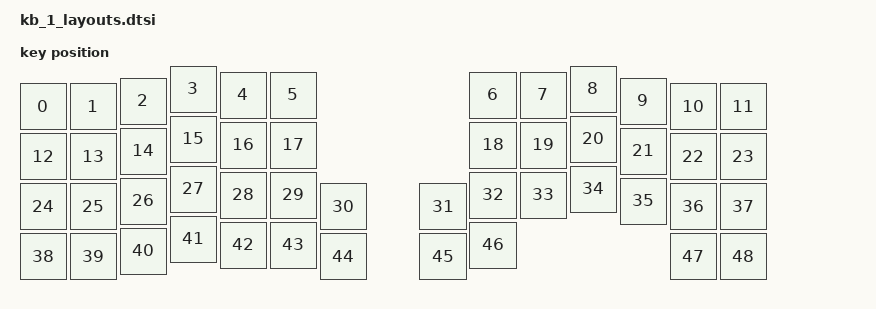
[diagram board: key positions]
#include <physical_layouts.dtsi>

/ {
    kb_1_layout: kb_1_layout {
        compatible = "zmk,physical-layout";
        display-name = "kb-1";
        keys  //                     w   h    x    y   rot   rx   ry
            = <&key_physical_attrs 100 100    0   35     0    0    0>
            , <&key_physical_attrs 100 100  100   35     0    0    0>
            , <&key_physical_attrs 100 100  200   24     0    0    0>
            , <&key_physical_attrs 100 100  300    0     0    0    0>
            , <&key_physical_attrs 100 100  400   12     0    0    0>
            , <&key_physical_attrs 100 100  500   12     0    0    0>
            , <&key_physical_attrs 100 100  900   12     0    0    0>
            , <&key_physical_attrs 100 100 1000   12     0    0    0>
            , <&key_physical_attrs 100 100 1100    0     0    0    0>
            , <&key_physical_attrs 100 100 1200   24     0    0    0>
            , <&key_physical_attrs 100 100 1300   35     0    0    0>
            , <&key_physical_attrs 100 100 1400   35     0    0    0>

            , <&key_physical_attrs 100 100    0  135     0    0    0>
            , <&key_physical_attrs 100 100  100  135     0    0    0>
            , <&key_physical_attrs 100 100  200  124     0    0    0>
            , <&key_physical_attrs 100 100  300  100     0    0    0>
            , <&key_physical_attrs 100 100  400  112     0    0    0>
            , <&key_physical_attrs 100 100  500  112     0    0    0>
            , <&key_physical_attrs 100 100  900  112     0    0    0>
            , <&key_physical_attrs 100 100 1000  112     0    0    0>
            , <&key_physical_attrs 100 100 1100  100     0    0    0>
            , <&key_physical_attrs 100 100 1200  124     0    0    0>
            , <&key_physical_attrs 100 100 1300  135     0    0    0>
            , <&key_physical_attrs 100 100 1400  135     0    0    0>

            , <&key_physical_attrs 100 100    0  235     0    0    0>
            , <&key_physical_attrs 100 100  100  235     0    0    0>
            , <&key_physical_attrs 100 100  200  224     0    0    0>
            , <&key_physical_attrs 100 100  300  200     0    0    0>
            , <&key_physical_attrs 100 100  400  212     0    0    0>
            , <&key_physical_attrs 100 100  500  212     0    0    0>
            , <&key_physical_attrs 100 100  600  235     0    0    0>
            , <&key_physical_attrs 100 100  800  235     0    0    0>
            , <&key_physical_attrs 100 100  900  212     0    0    0>
            , <&key_physical_attrs 100 100 1000  212     0    0    0>
            , <&key_physical_attrs 100 100 1100  200     0    0    0>
            , <&key_physical_attrs 100 100 1200  224     0    0    0>
            , <&key_physical_attrs 100 100 1300  235     0    0    0>
            , <&key_physical_attrs 100 100 1400  235     0    0    0>

            , <&key_physical_attrs 100 100    0  335     0    0    0>
            , <&key_physical_attrs 100 100  100  335     0    0    0>
            , <&key_physical_attrs 100 100  200  324     0    0    0>
            , <&key_physical_attrs 100 100  300  300     0    0    0>
            , <&key_physical_attrs 100 100  400  312     0    0    0>
            , <&key_physical_attrs 100 100  500  312     0    0    0>
            , <&key_physical_attrs 100 100  600  335     0    0    0>
            , <&key_physical_attrs 100 100  800  335     0    0    0>
            , <&key_physical_attrs 100 100  900  312     0    0    0>
            , <&key_physical_attrs 100 100 1300  335     0    0    0>
            , <&key_physical_attrs 100 100 1400  335     0    0    0>
            ;
    };
};
